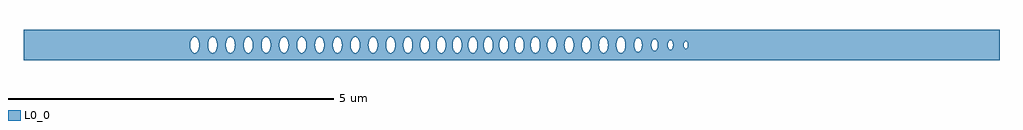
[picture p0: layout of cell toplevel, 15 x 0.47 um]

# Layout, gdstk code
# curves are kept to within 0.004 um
import gdstk
lib = gdstk.Library(unit=1e-6, precision=1e-09)
def P(c, l, *ps):  # polygons
    for p in ps: c.add(gdstk.Polygon(p, *l))
L0_0 = (0, 0)

toplevel = lib.new_cell('toplevel')
P(toplevel, L0_0, [(-4.365,-0.235),(-4.365,-0.096),(-4.382,-0.06),(-4.39,-0.016),(-4.384,0.053),(-4.365,0.096),(-4.365,0.235),(-7.5,0.235),(-7.5,0),(-4.939,0),(-4.934,0.046),(-4.919,0.085),(-4.902,0.109),(-4.873,0.124),(-4.846,0.118),(-4.817,0.085),(-4.801,0.038),(-4.798,-0.016),(-4.664,-0.016),(-4.661,0.038),(-4.651,0.073),(-4.628,0.109),(-4.598,0.124),(-4.572,0.118),(-4.549,0.096),(-4.532,0.06),(-4.524,0.016),(-4.528,-0.046),(-4.537,-0.073),(-4.56,-0.109),(-4.59,-0.124),(-4.616,-0.118),(-4.639,-0.096),(-4.656,-0.06),(-4.664,-0.016),(-4.798,-0.016),(-4.806,-0.06),(-4.83,-0.105),(-4.855,-0.122),(-4.881,-0.122),(-4.906,-0.105),(-4.925,-0.073),(-4.939,0),(-7.5,0),(-7.5,-0.235)],
  [(-3.841,0.023),(-3.829,0.073),(-3.806,0.109),(-3.776,0.124),(-3.758,0.122),(-3.738,0.109),(-3.738,0.235),(-4.365,0.235),(-4.365,0.096),(-4.342,0.118),(-4.324,0.124),(-4.307,0.122),(-4.286,0.109),(-4.258,0.06),(-4.25,-0.016),(-4.116,-0.016),(-4.113,0.038),(-4.103,0.073),(-4.08,0.109),(-4.05,0.124),(-4.024,0.118),(-4.001,0.096),(-3.984,0.06),(-3.975,0.008),(-3.98,-0.046),(-3.991,-0.079),(-4.012,-0.109),(-4.041,-0.124),(-4.068,-0.118),(-4.091,-0.096),(-4.108,-0.06),(-4.116,-0.016),(-4.25,-0.016),(-4.263,-0.073),(-4.278,-0.1),(-4.298,-0.118),(-4.315,-0.124),(-4.333,-0.122),(-4.365,-0.096),(-4.365,-0.235),(-3.738,-0.235),(-3.738,-0.109),(-3.758,-0.122),(-3.776,-0.124),(-3.798,-0.115),(-3.817,-0.096),(-3.839,-0.038)],
  [(-3.164,-0.066),(-3.179,-0.096),(-3.202,-0.118),(-3.219,-0.124),(-3.245,-0.118),(-3.278,-0.079),(-3.292,-0.031),(-3.294,0.008),(-3.289,0.046),(-3.275,0.085),(-3.257,0.109),(-3.228,0.124),(-3.21,0.122),(-3.186,0.105),(-3.166,0.073),(-3.156,0.038),(-3.156,0.235),(-3.738,0.235),(-3.738,0.109),(-3.71,0.06),(-3.701,-0.008),(-3.568,-0.008),(-3.565,0.038),(-3.555,0.073),(-3.532,0.109),(-3.502,0.124),(-3.476,0.118),(-3.449,0.09),(-3.432,0.046),(-3.427,0.008),(-3.429,-0.031),(-3.443,-0.079),(-3.464,-0.109),(-3.493,-0.124),(-3.519,-0.118),(-3.546,-0.09),(-3.563,-0.046),(-3.568,-0.008),(-3.701,-0.008),(-3.712,-0.066),(-3.738,-0.109),(-3.738,-0.235),(-3.156,-0.235),(-3.156,-0.039)],
  [(-2.468,-0.235),(-2.468,0.235),(-3.156,0.235),(-3.153,-0.008),(-3.02,-0.008),(-3.018,0.031),(-3.004,0.079),(-2.983,0.109),(-2.954,0.124),(-2.928,0.118),(-2.904,0.096),(-2.882,0.038),(-2.879,-0.008),(-2.746,-0.008),(-2.741,0.046),(-2.73,0.079),(-2.709,0.109),(-2.68,0.124),(-2.653,0.118),(-2.63,0.096),(-2.613,0.06),(-2.605,0.016),(-2.608,-0.038),(-2.618,-0.073),(-2.641,-0.109),(-2.671,-0.124),(-2.697,-0.118),(-2.72,-0.096),(-2.737,-0.06),(-2.746,-0.008),(-2.879,-0.008),(-2.884,-0.046),(-2.904,-0.096),(-2.923,-0.115),(-2.945,-0.124),(-2.971,-0.118),(-2.998,-0.09),(-3.015,-0.046),(-3.02,-0.008),(-3.153,-0.008),(-3.156,-0.235)],
  [(-1.927,0.016),(-1.909,0.085),(-1.891,0.109),(-1.871,0.122),(-1.871,0.235),(-2.468,0.235),(-2.468,0.038),(-2.458,0.073),(-2.439,0.105),(-2.419,0.12),(-2.397,0.124),(-2.367,0.109),(-2.344,0.073),(-2.334,0.038),(-2.331,-0.016),(-2.198,-0.016),(-2.195,0.038),(-2.179,0.085),(-2.15,0.118),(-2.123,0.124),(-2.094,0.109),(-2.076,0.085),(-2.062,0.046),(-2.057,0.008),(-2.062,-0.046),(-2.076,-0.085),(-2.094,-0.109),(-2.123,-0.124),(-2.15,-0.118),(-2.173,-0.096),(-2.19,-0.06),(-2.198,-0.016),(-2.331,-0.016),(-2.339,-0.06),(-2.356,-0.096),(-2.379,-0.118),(-2.397,-0.124),(-2.419,-0.12),(-2.439,-0.105),(-2.458,-0.073),(-2.468,-0.041),(-2.468,-0.235),(-1.871,-0.235),(-1.871,-0.122),(-1.895,-0.105),(-1.912,-0.079),(-1.926,-0.031)],
  [(-1.871,0.235),(-1.871,0.122),(-1.844,0.122),(-1.812,0.096),(-1.79,0.038),(-1.787,-0.016),(-1.662,-0.016),(-1.658,0.046),(-1.649,0.073),(-1.626,0.109),(-1.596,0.124),(-1.57,0.118),(-1.547,0.096),(-1.53,0.06),(-1.522,0.016),(-1.526,-0.046),(-1.535,-0.073),(-1.558,-0.109),(-1.588,-0.124),(-1.614,-0.118),(-1.637,-0.096),(-1.654,-0.06),(-1.662,-0.016),(-1.787,-0.016),(-1.8,-0.073),(-1.812,-0.096),(-1.844,-0.122),(-1.871,-0.122),(-1.871,-0.235),(-1.276,-0.235),(-1.276,-0.073),(-1.288,-0.096),(-1.311,-0.118),(-1.329,-0.124),(-1.355,-0.118),(-1.371,-0.105),(-1.39,-0.073),(-1.403,-0.016),(-1.395,0.06),(-1.378,0.096),(-1.355,0.118),(-1.337,0.124),(-1.311,0.118),(-1.295,0.105),(-1.276,0.073),(-1.276,0.235)],
  [(-1.265,-0.031),(-1.276,-0.073),(-1.276,-0.235),(-0.659,-0.235),(-0.659,-0.046),(-0.664,-0.016),(-0.659,0.235),(-1.276,0.235),(-1.276,0.072),(-1.267,0.046),(-1.263,-0.016),(-1.151,-0.016),(-1.148,0.038),(-1.138,0.073),(-1.115,0.109),(-1.085,0.124),(-1.059,0.118),(-1.029,0.085),(-1.012,0.031),(-1.011,-0.016),(-0.905,-0.016),(-0.902,0.038),(-0.88,0.096),(-0.857,0.118),(-0.839,0.124),(-0.822,0.122),(-0.801,0.109),(-0.773,0.06),(-0.764,-0.008),(-0.78,-0.079),(-0.797,-0.105),(-0.817,-0.12),(-0.844,-0.123),(-0.869,-0.109),(-0.892,-0.073),(-0.905,-0.016),(-1.011,-0.016),(-1.015,-0.046),(-1.032,-0.09),(-1.047,-0.109),(-1.076,-0.124),(-1.102,-0.118),(-1.126,-0.096),(-1.138,-0.073),(-1.151,-0.016),(-1.263,-0.016)],
  [(-0.658,0.053),(-0.628,0.109),(-0.607,0.122),(-0.581,0.122),(-0.556,0.105),(-0.534,0.066),(-0.524,-0.016),(-0.426,-0.016),(-0.423,0.038),(-0.407,0.085),(-0.378,0.118),(-0.351,0.124),(-0.322,0.109),(-0.304,0.085),(-0.29,0.046),(-0.285,0),(-0.29,-0.046),(-0.304,-0.085),(-0.322,-0.109),(-0.351,-0.124),(-0.378,-0.118),(-0.401,-0.096),(-0.418,-0.06),(-0.426,-0.016),(-0.524,-0.016),(-0.542,-0.085),(-0.56,-0.109),(-0.589,-0.124),(-0.607,-0.122),(-0.632,-0.105),(-0.659,-0.049),(-0.659,-0.235),(-0.14,-0.235),(-0.14,-0.118),(-0.164,-0.096),(-0.176,-0.073),(-0.189,-0.016),(-0.186,0.038),(-0.176,0.073),(-0.164,0.096),(-0.14,0.118),(-0.14,0.235),(-0.659,0.235)],
  [(0.297,0.016),(0.31,0.073),(0.322,0.096),(0.345,0.118),(0.362,0.124),(0.38,0.122),(0.401,0.109),(0.415,0.09),(0.415,0.235),(-0.14,0.235),(-0.14,0.118),(-0.123,0.124),(-0.105,0.122),(-0.074,0.096),(-0.053,0.046),(-0.048,-0.008),(0.05,-0.008),(0.052,0.031),(0.066,0.079),(0.087,0.109),(0.116,0.124),(0.143,0.118),(0.166,0.096),(0.178,0.073),(0.191,0.016),(0.188,-0.038),(0.178,-0.073),(0.155,-0.109),(0.125,-0.124),(0.099,-0.118),(0.076,-0.096),(0.059,-0.06),(0.05,-0.008),(-0.048,-0.008),(-0.059,-0.066),(-0.081,-0.105),(-0.114,-0.124),(-0.14,-0.118),(-0.14,-0.235),(0.415,-0.235),(0.415,-0.09),(0.401,-0.109),(0.376,-0.123),(0.354,-0.122),(0.333,-0.109),(0.305,-0.06)],
  [(0.815,0.016),(0.833,0.085),(0.851,0.109),(0.88,0.124),(0.907,0.118),(0.93,0.096),(0.947,0.06),(0.954,0.023),(0.954,0.235),(0.415,0.235),(0.415,0.09),(0.431,0.053),(0.437,-0.008),(0.552,-0.008),(0.555,0.038),(0.565,0.073),(0.592,0.112),(0.618,0.124),(0.644,0.118),(0.671,0.09),(0.688,0.046),(0.693,0.008),(0.691,-0.031),(0.677,-0.079),(0.656,-0.109),(0.627,-0.124),(0.601,-0.118),(0.574,-0.09),(0.557,-0.046),(0.552,-0.008),(0.437,-0.008),(0.431,-0.053),(0.415,-0.09),(0.415,-0.235),(0.954,-0.235),(0.954,-0.026),(0.942,-0.073),(0.923,-0.105),(0.898,-0.122),(0.872,-0.122),(0.847,-0.105),(0.825,-0.066)],
  [(0.954,-0.235),(1.633,-0.235),(1.633,-0.09),(1.619,-0.06),(1.611,-0.016),(1.617,0.053),(1.633,0.09),(1.633,0.235),(0.954,0.235),(0.955,-0.016),(1.079,-0.016),(1.082,0.038),(1.092,0.073),(1.115,0.109),(1.145,0.124),(1.171,0.118),(1.198,0.09),(1.215,0.046),(1.22,0),(1.343,0),(1.348,0.046),(1.363,0.085),(1.38,0.109),(1.409,0.124),(1.436,0.118),(1.459,0.096),(1.476,0.06),(1.484,0.016),(1.481,-0.038),(1.471,-0.073),(1.448,-0.109),(1.418,-0.124),(1.392,-0.118),(1.369,-0.096),(1.348,-0.046),(1.343,0),(1.22,0),(1.215,-0.046),(1.201,-0.085),(1.183,-0.109),(1.154,-0.124),(1.128,-0.118),(1.104,-0.096),(1.092,-0.073),(1.079,-0.016),(0.955,-0.016)],
  [(1.64,0.1),(1.659,0.118),(1.677,0.124),(1.694,0.122),(1.715,0.109),(1.741,0.066),(1.752,0),(1.885,0),(1.891,0.046),(1.904,0.079),(1.931,0.105),(1.961,0.105),(1.982,0.087),(1.995,0.064),(2.005,0.027),(2.006,-0.014),(2.001,-0.046),(1.985,-0.083),(1.965,-0.103),(1.942,-0.108),(1.92,-0.098),(1.904,-0.079),(1.891,-0.046),(1.885,0),(1.752,0),(1.741,-0.066),(1.715,-0.109),(1.694,-0.122),(1.672,-0.123),(1.647,-0.109),(1.633,-0.09),(1.633,-0.235),(2.23,-0.235),(2.23,-0.074),(2.203,-0.092),(2.175,-0.081),(2.155,-0.044),(2.149,-0.006),(2.155,0.044),(2.175,0.081),(2.203,0.092),(2.23,0.074),(2.23,0.235),(1.633,0.235),(1.633,0.09)],
  [(2.249,-0.017),(2.243,-0.049),(2.23,-0.074),(2.23,-0.235),(7.5,-0.235),(7.5,0.235),(2.23,0.235),(2.23,0.074),(2.246,0.039),(2.25,-0.01),(2.402,-0.01),(2.411,0.048),(2.425,0.069),(2.44,0.076),(2.458,0.071),(2.472,0.052),(2.483,-0.004),(2.647,-0.004),(2.654,0.038),(2.674,0.06),(2.695,0.051),(2.709,0.008),(2.701,-0.041),(2.682,-0.06),(2.66,-0.049),(2.647,-0.004),(2.483,-0.004),(2.472,-0.052),(2.458,-0.071),(2.445,-0.076),(2.432,-0.074),(2.417,-0.059),(2.402,-0.01),(2.25,-0.01)])

lib.write_gds('toplevel.gds')
